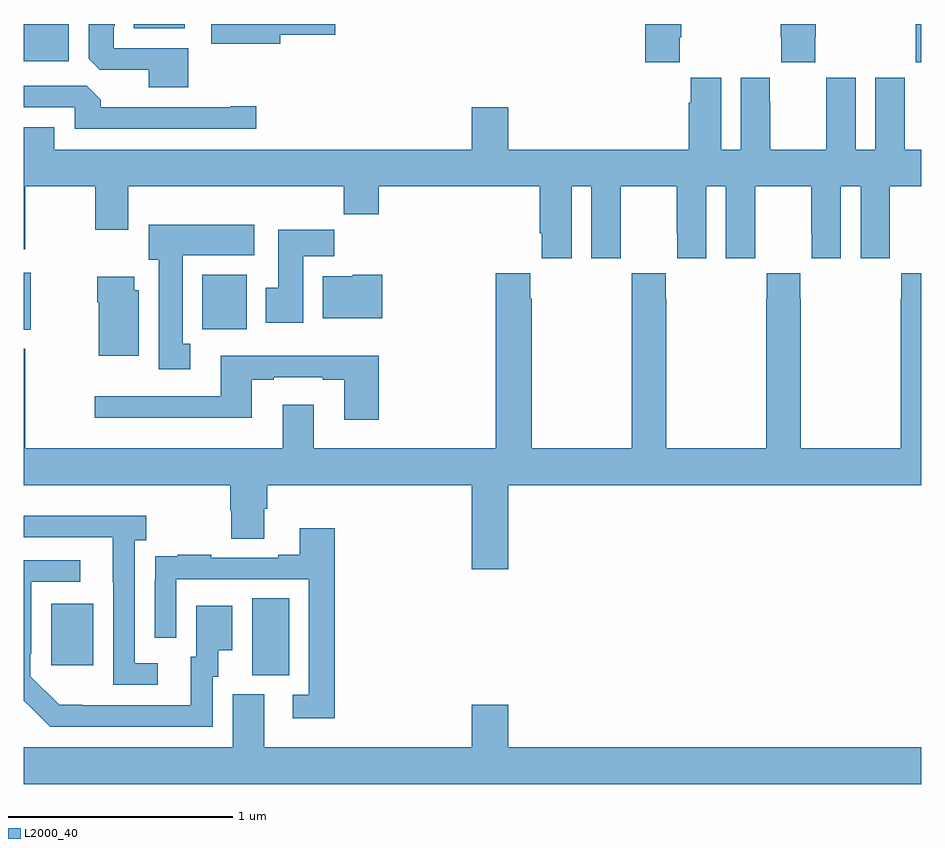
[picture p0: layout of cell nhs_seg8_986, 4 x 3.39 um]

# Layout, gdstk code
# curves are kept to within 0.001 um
import gdstk
lib = gdstk.Library(unit=1e-6, precision=1e-09)
def R(c, l, rs):  # rectangles x0, y0, x1, y1
    for r in rs: c.add(gdstk.rectangle(r[:2], r[2:], *l))
def P(c, l, *ps):  # polygons
    for p in ps: c.add(gdstk.Polygon(p, *l))
L2000_40 = (2000, 40)

nhs_seg8_986 = lib.new_cell('nhs_seg8_986')
R(nhs_seg8_986, L2000_40, [(176.018,1104.997,176.182,1105.34), (175.121,1105.041,175.309,1105.315), (175,1106.537,175.03,1106.791), (175.796,1106.54,175.993,1106.782), (175,1107.734,175.201,1107.9), (175.49,1107.881,175.717,1107.9)])
P(nhs_seg8_986, L2000_40, [(176.143,1107.851),(176.389,1107.851),(176.389,1107.9),(175.836,1107.9),(175.836,1107.812),(176.143,1107.812)],
  [(175.732,1107.792),(175.401,1107.792),(175.401,1107.889),(175.405,1107.889),(175.405,1107.9),(175.289,1107.9),(175.289,1107.745),(175.338,1107.696),(175.556,1107.696),(175.556,1107.617),(175.732,1107.617)],
  [(179,1107.9),(178.975,1107.9),(178.975,1107.841),(178.977,1107.841),(178.977,1107.729),(179,1107.729)],
  [(177.923,1107.841),(177.93,1107.841),(177.93,1107.9),(177.77,1107.9),(177.77,1107.729),(177.923,1107.729)],
  [(178.527,1107.841),(178.53,1107.841),(178.53,1107.9),(178.375,1107.9),(178.375,1107.841),(178.377,1107.841),(178.377,1107.729),(178.527,1107.729)],
  [(177.442,1107.176),(177.53,1107.176),(177.53,1106.856),(177.66,1106.856),(177.66,1106.968),(177.661,1106.968),(177.661,1107.176),(177.911,1107.176),(177.911,1106.968),(177.912,1106.968),(177.912,1106.856),(178.042,1106.856),(178.042,1107.176),(178.13,1107.176),(178.13,1106.856),(178.26,1106.856),(178.26,1106.968),(178.261,1106.968),(178.261,1107.176),(178.511,1107.176),(178.511,1106.968),(178.512,1106.968),(178.512,1106.856),(178.642,1106.856),(178.642,1107.176),(178.73,1107.176),(178.73,1106.856),(178.86,1106.856),(178.86,1106.968),(178.861,1106.968),(178.861,1107.176),(179,1107.176),(179,1107.34),(178.927,1107.34),(178.927,1107.548),(178.926,1107.548),(178.926,1107.661),(178.796,1107.661),(178.796,1107.34),(178.708,1107.34),(178.708,1107.661),(178.578,1107.661),(178.578,1107.548),(178.577,1107.548),(178.577,1107.34),(178.327,1107.34),(178.327,1107.548),(178.326,1107.548),(178.326,1107.661),(178.196,1107.661),(178.196,1107.34),(178.108,1107.34),(178.108,1107.661),(177.974,1107.661),(177.974,1107.548),(177.965,1107.548),(177.965,1107.34),(177.16,1107.34),(177.16,1107.529),(176.996,1107.529),(176.996,1107.34),(175.135,1107.34),(175.135,1107.439),(175,1107.439),(175,1106.895),(175.007,1106.895),(175.007,1107.176),(175.318,1107.176),(175.318,1106.982),(175.465,1106.982),(175.465,1107.176),(176.425,1107.176),(176.425,1107.052),(176.582,1107.052),(176.582,1107.176),(177.299,1107.176),(177.299,1106.968),(177.308,1106.968),(177.308,1106.856),(177.442,1106.856)],
  [(176.035,1107.533),(175.922,1107.533),(175.922,1107.528),(175.343,1107.528),(175.343,1107.562),(175.281,1107.624),(175,1107.624),(175,1107.528),(175.227,1107.528),(175.227,1107.432),(176.035,1107.432)],
  [(175.741,1106.474),(175.708,1106.474),(175.708,1106.87),(176.026,1106.87),(176.026,1107.004),(175.556,1107.004),(175.556,1106.85),(175.601,1106.85),(175.601,1106.361),(175.741,1106.361)],
  [(176.245,1106.864),(176.384,1106.864),(176.384,1106.983),(176.135,1106.983),(176.135,1106.724),(176.078,1106.724),(176.078,1106.568),(176.245,1106.568)],
  [(175,1106.452),(175,1105.844),(175.919,1105.844),(175.919,1105.731),(175.924,1105.731),(175.924,1105.606),(176.071,1105.606),(176.071,1105.738),(176.084,1105.738),(176.084,1105.844),(176.996,1105.844),(176.996,1105.47),(177.16,1105.47),(177.16,1105.844),(179,1105.844),(179,1106.788),(178.911,1106.788),(178.911,1106.675),(178.909,1106.675),(178.909,1106.008),(178.464,1106.008),(178.464,1106.675),(178.461,1106.675),(178.461,1106.788),(178.311,1106.788),(178.311,1106.675),(178.309,1106.675),(178.309,1106.008),(177.864,1106.008),(177.864,1106.675),(177.861,1106.675),(177.861,1106.788),(177.711,1106.788),(177.711,1106.675),(177.709,1106.675),(177.709,1106.008),(177.264,1106.008),(177.264,1106.675),(177.257,1106.675),(177.257,1106.788),(177.104,1106.788),(177.104,1106.008),(176.293,1106.008),(176.293,1106.203),(176.153,1106.203),(176.153,1106.008),(175.007,1106.008),(175.007,1106.452)],
  [(176.597,1106.782),(176.466,1106.782),(176.466,1106.776),(176.333,1106.776),(176.333,1106.588),(176.597,1106.588)],
  [(175.513,1106.712),(175.492,1106.712),(175.492,1106.773),(175.327,1106.773),(175.327,1106.66),(175.334,1106.66),(175.334,1106.42),(175.513,1106.42)],
  [(176.582,1106.422),(175.877,1106.422),(175.877,1106.241),(175.317,1106.241),(175.317,1106.144),(176.017,1106.144),(176.017,1106.313),(176.113,1106.313),(176.113,1106.325),(176.333,1106.325),(176.333,1106.313),(176.429,1106.313),(176.429,1106.136),(176.582,1106.136)],
  [(175.597,1105.05),(175.494,1105.05),(175.494,1105.598),(175.546,1105.598),(175.546,1105.708),(175,1105.708),(175,1105.611),(175.397,1105.611),(175.397,1105.411),(175.398,1105.411),(175.398,1104.954),(175.597,1104.954)],
  [(176.387,1105.651),(176.231,1105.651),(176.231,1105.534),(176.135,1105.534),(176.135,1105.521),(175.835,1105.521),(175.835,1105.534),(175.687,1105.534),(175.687,1105.527),(175.585,1105.527),(175.585,1105.418),(175.584,1105.418),(175.584,1105.164),(175.68,1105.164),(175.68,1105.425),(176.271,1105.425),(176.271,1104.909),(176.199,1104.909),(176.199,1104.804),(176.387,1104.804)],
  [(175.842,1104.99),(175.867,1104.99),(175.867,1105.109),(175.93,1105.109),(175.93,1105.306),(175.769,1105.306),(175.769,1105.08),(175.745,1105.08),(175.745,1104.864),(175.158,1104.865),(175.029,1104.993),(175.029,1105.093),(175.032,1105.093),(175.032,1105.413),(175.252,1105.413),(175.252,1105.509),(175,1105.509),(175,1104.884),(175.026,1104.858),(175.027,1104.859),(175.118,1104.768),(175.842,1104.768)],
  [(179,1104.676),(177.16,1104.676),(177.16,1104.865),(176.996,1104.865),(176.996,1104.676),(176.071,1104.676),(176.071,1104.912),(175.931,1104.912),(175.931,1104.676),(175,1104.676),(175,1104.512),(179,1104.512)])

lib.write_gds('nhs_seg8_986.gds')
